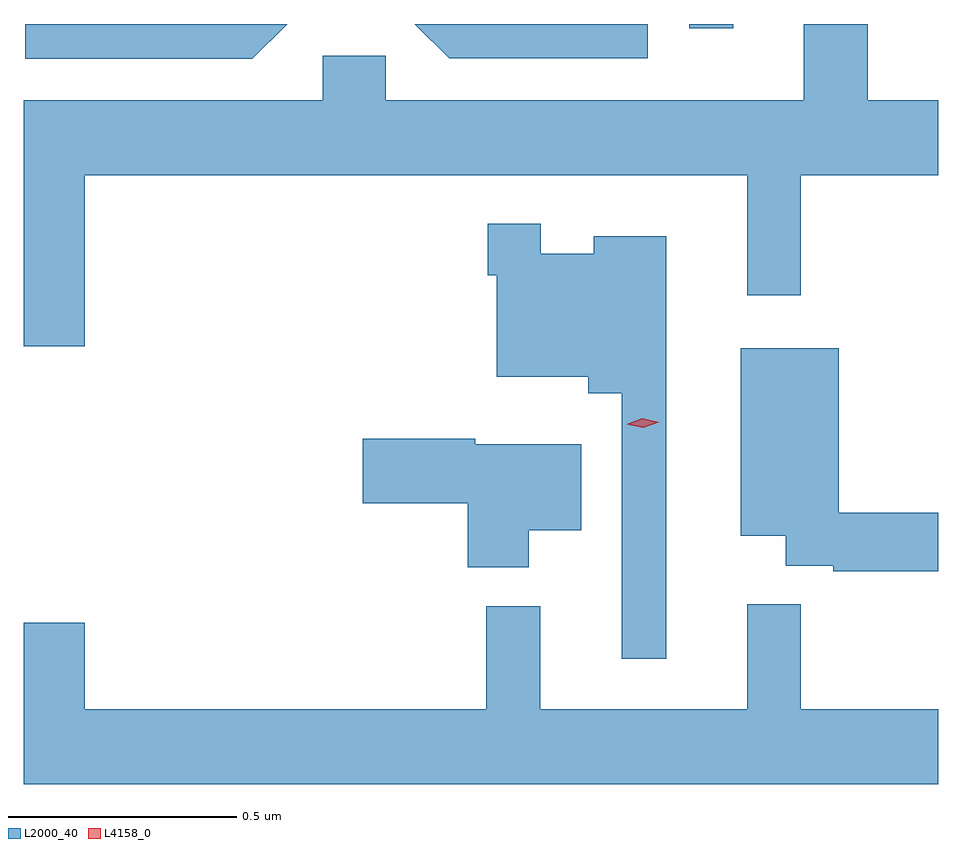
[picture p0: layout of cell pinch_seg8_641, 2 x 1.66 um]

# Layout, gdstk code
import gdstk
lib = gdstk.Library(unit=1e-6, precision=1e-09)
def R(c, l, rs):  # rectangles x0, y0, x1, y1
    for r in rs: c.add(gdstk.rectangle(r[:2], r[2:], *l))
def P(c, l, *ps):  # polygons
    for p in ps: c.add(gdstk.Polygon(p, *l))
L2000_40 = (2000, 40)
L4158_0 = (4158, 0)

pinch_seg8_641 = lib.new_cell('pinch_seg8_641')
R(pinch_seg8_641, L2000_40, [(202.459,1095.51,202.555,1095.519)])
P(pinch_seg8_641, L2000_40, [(201.136,1095.188),(202.586,1095.188),(202.586,1094.925),(202.703,1094.925),(202.703,1095.188),(203.003,1095.188),(203.003,1095.352),(202.849,1095.352),(202.849,1095.519),(202.709,1095.519),(202.709,1095.352),(201.795,1095.352),(201.795,1095.45),(201.657,1095.45),(201.657,1095.352),(201.003,1095.352),(201.003,1094.814),(201.136,1094.814)],
  [(201.579,1095.519),(201.006,1095.519),(201.006,1095.443),(201.503,1095.443)],
  [(202.368,1095.519),(201.858,1095.519),(201.933,1095.444),(202.368,1095.444)],
  [(202.408,1095.055),(202.25,1095.055),(202.25,1095.016),(202.134,1095.016),(202.134,1095.082),(202.018,1095.082),(202.018,1094.969),(202.038,1094.969),(202.038,1094.747),(202.238,1094.747),(202.238,1094.711),(202.311,1094.711),(202.311,1094.13),(202.408,1094.13)],
  [(203.003,1094.45),(202.786,1094.45),(202.786,1094.809),(202.571,1094.809),(202.571,1094.399),(202.67,1094.399),(202.67,1094.334),(202.774,1094.334),(202.774,1094.322),(203.003,1094.322)],
  [(202.108,1094.411),(202.222,1094.411),(202.222,1094.599),(201.99,1094.599),(201.99,1094.612),(201.744,1094.612),(201.744,1094.47),(201.974,1094.47),(201.974,1094.33),(202.108,1094.33)],
  [(203.003,1094.02),(202.703,1094.02),(202.703,1094.249),(202.586,1094.249),(202.586,1094.02),(202.133,1094.02),(202.133,1094.245),(202.015,1094.245),(202.015,1094.02),(201.136,1094.02),(201.136,1094.209),(201.003,1094.209),(201.003,1093.856),(203.003,1093.856)])
P(pinch_seg8_641, L4158_0, [(202.358,1094.636),(202.322,1094.643),(202.321,1094.643),(202.322,1094.643),(202.356,1094.656),(202.392,1094.648),(202.393,1094.648),(202.392,1094.648)])

lib.write_gds('pinch_seg8_641.gds')
